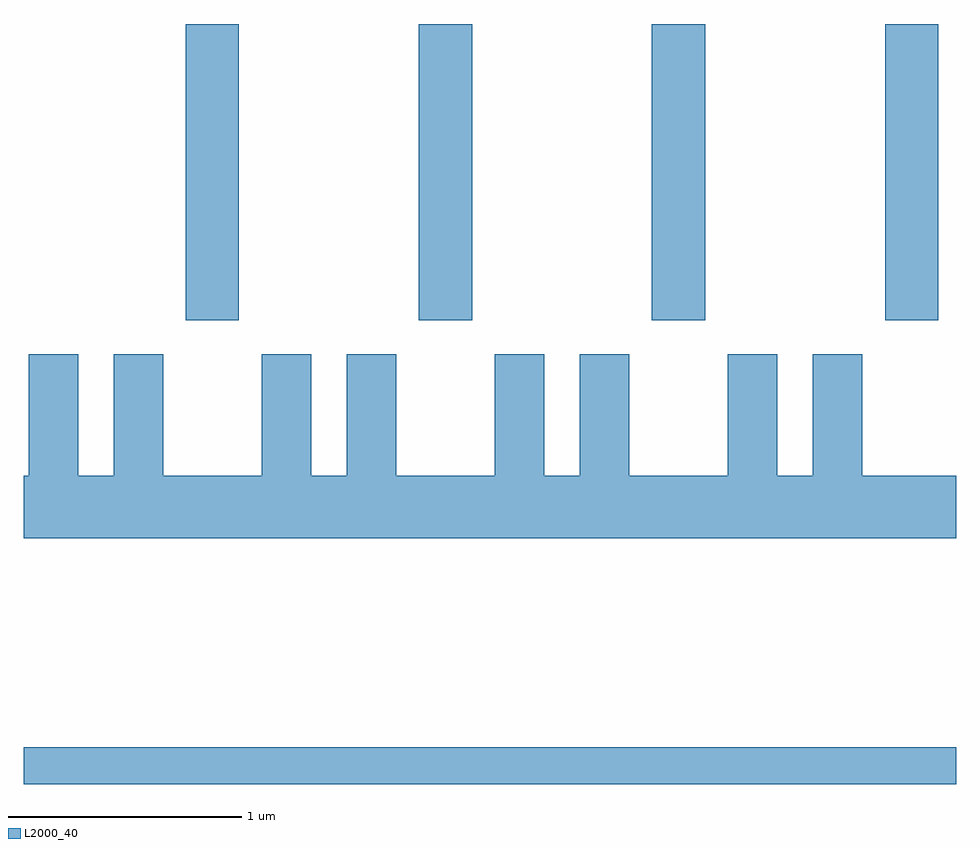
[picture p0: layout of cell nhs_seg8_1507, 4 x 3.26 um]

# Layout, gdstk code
import gdstk
lib = gdstk.Library(unit=1e-6, precision=1e-09)
def R(c, l, rs):  # rectangles x0, y0, x1, y1
    for r in rs: c.add(gdstk.rectangle(r[:2], r[2:], *l))
def A(c, l, x, y, w, h, nx, ny, dx, dy):  # array of equal rectangles
    R(c, l, [(x+i*dx, y+j*dy, x+i*dx+w, y+j*dy+h) for i in range(nx) for j in range(ny)])
def P(c, l, *ps):  # polygons
    for p in ps: c.add(gdstk.Polygon(p, *l))
L2000_40 = (2000, 40)

nhs_seg8_1507 = lib.new_cell('nhs_seg8_1507')
A(nhs_seg8_1507, L2000_40, 230.306, 1895.071, 0.228, 1.271, 4, 1, 1, 0)
R(nhs_seg8_1507, L2000_40, [(229.611,1893.081,233.611,1893.239)])
P(nhs_seg8_1507, L2000_40, [(233.611,1894.404),(233.209,1894.404),(233.209,1894.924),(232.996,1894.924),(232.996,1894.404),(232.844,1894.404),(232.844,1894.924),(232.631,1894.924),(232.631,1894.404),(232.209,1894.404),(232.209,1894.924),(231.996,1894.924),(231.996,1894.404),(231.844,1894.404),(231.844,1894.924),(231.631,1894.924),(231.631,1894.404),(231.209,1894.404),(231.209,1894.924),(230.996,1894.924),(230.996,1894.404),(230.844,1894.404),(230.844,1894.924),(230.631,1894.924),(230.631,1894.404),(230.209,1894.404),(230.209,1894.924),(229.996,1894.924),(229.996,1894.404),(229.844,1894.404),(229.844,1894.924),(229.631,1894.924),(229.631,1894.404),(229.611,1894.404),(229.611,1894.136),(233.611,1894.136)])

lib.write_gds('nhs_seg8_1507.gds')
